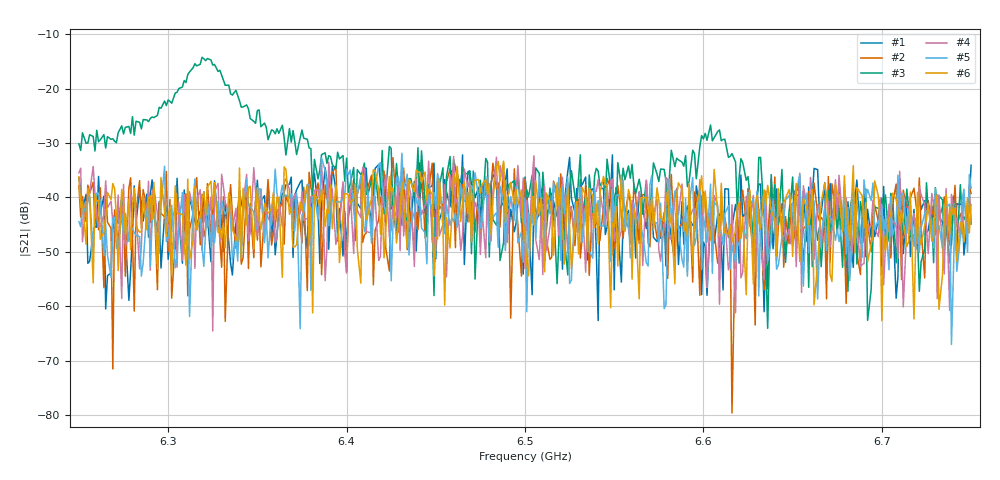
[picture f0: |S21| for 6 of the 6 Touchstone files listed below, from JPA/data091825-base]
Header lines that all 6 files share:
# Hz S RI R 50
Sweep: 6.25 GHz to 6.75 GHz
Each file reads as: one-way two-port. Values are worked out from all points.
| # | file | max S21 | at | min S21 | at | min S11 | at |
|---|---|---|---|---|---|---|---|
| 1 | port1.s2p | -32.19 dB | 6.549 GHz | -62.6 dB | 6.541 GHz | -3.5 dB | 6.709 GHz |
| 2 | port2.s2p | -32.70 dB | 6.426 GHz | -79.6 dB | 6.616 GHz | -32.2 dB | 6.591 GHz |
| 3 | port3.s2p | -14.26 dB | 6.319 GHz | -64.0 dB | 6.636 GHz | -3.1 dB | 6.682 GHz |
| 4 | port4.s2p | -32.35 dB | 6.505 GHz | -64.5 dB | 6.325 GHz | -3.2 dB | 6.746 GHz |
| 5 | port5.s2p | -31.88 dB | 6.431 GHz | -67.0 dB | 6.739 GHz | -4.6 dB | 6.742 GHz |
| 6 | port6.s2p | -33.32 dB | 6.488 GHz | -62.6 dB | 6.7 GHz | -3.5 dB | 6.75 GHz |
